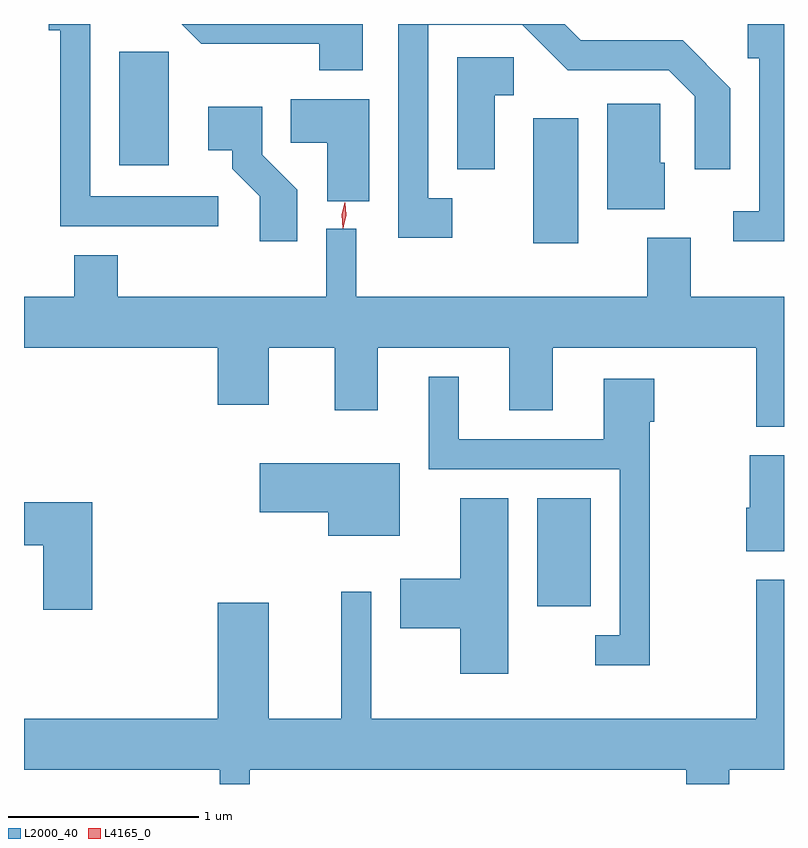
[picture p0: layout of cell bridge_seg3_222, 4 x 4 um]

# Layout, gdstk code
import gdstk
lib = gdstk.Library(unit=1e-6, precision=1e-09)
def R(c, l, rs):  # rectangles x0, y0, x1, y1
    for r in rs: c.add(gdstk.rectangle(r[:2], r[2:], *l))
def P(c, l, *ps):  # polygons
    for p in ps: c.add(gdstk.Polygon(p, *l))
L2000_40 = (2000, 40)
L4165_0 = (4165, 0)

bridge_seg3_222 = lib.new_cell('bridge_seg3_222')
R(bridge_seg3_222, L2000_40, [(956.016,1120.216,956.299,1120.784), (955.996,1122.126,956.234,1122.784), (953.816,1122.536,954.079,1123.134)])
P(bridge_seg3_222, L2000_40, [(955.569,1122.364),(955.444,1122.364),(955.444,1123.276),(955.939,1123.276),(956.179,1123.036),(956.709,1123.036),(956.846,1122.899),(956.846,1122.516),(957.034,1122.516),(957.034,1122.942),(956.782,1123.194),(956.247,1123.194),(956.161,1123.28),(955.286,1123.28),(955.286,1122.156),(955.569,1122.156)],
  [(957.316,1123.28),(957.126,1123.28),(957.126,1123.101),(957.186,1123.101),(957.186,1122.294),(957.048,1122.294),(957.048,1122.136),(957.316,1122.136)],
  [(955.099,1123.28),(954.145,1123.28),(954.249,1123.176),(954.871,1123.176),(954.871,1123.036),(955.099,1123.036)],
  [(954.338,1122.374),(953.664,1122.374),(953.664,1123.28),(953.446,1123.28),(953.446,1123.246),(953.506,1123.246),(953.506,1122.216),(954.338,1122.216)],
  [(955.794,1122.906),(955.894,1122.906),(955.894,1123.104),(955.596,1123.104),(955.596,1122.516),(955.794,1122.516)],
  [(955.134,1122.884),(954.721,1122.884),(954.721,1122.656),(954.911,1122.656),(954.911,1122.346),(955.134,1122.346)],
  [(956.689,1122.549),(956.664,1122.549),(956.664,1122.859),(956.386,1122.859),(956.386,1122.306),(956.689,1122.306)],
  [(954.754,1122.407),(954.569,1122.592),(954.569,1122.844),(954.286,1122.844),(954.286,1122.616),(954.411,1122.616),(954.411,1122.519),(954.556,1122.374),(954.556,1122.136),(954.754,1122.136)],
  [(957.316,1121.844),(956.824,1121.844),(956.824,1122.154),(956.596,1122.154),(956.596,1121.844),(955.064,1121.844),(955.064,1122.203),(954.906,1122.203),(954.906,1121.844),(953.809,1121.844),(953.809,1122.064),(953.581,1122.064),(953.581,1121.844),(953.316,1121.844),(953.316,1121.576),(954.336,1121.576),(954.336,1121.276),(954.604,1121.276),(954.604,1121.576),(954.951,1121.576),(954.951,1121.246),(955.179,1121.246),(955.179,1121.576),(955.871,1121.576),(955.871,1121.246),(956.099,1121.246),(956.099,1121.576),(957.171,1121.576),(957.171,1121.161),(957.316,1121.161)],
  [(956.609,1121.186),(956.634,1121.186),(956.634,1121.414),(956.366,1121.414),(956.366,1121.094),(955.604,1121.094),(955.604,1121.423),(955.446,1121.423),(955.446,1120.936),(956.451,1120.936),(956.451,1120.064),(956.323,1120.064),(956.323,1119.906),(956.609,1119.906)],
  [(957.316,1121.009),(957.136,1121.009),(957.136,1120.734),(957.116,1120.734),(957.116,1120.506),(957.316,1120.506)],
  [(955.294,1120.969),(954.556,1120.969),(954.556,1120.711),(954.916,1120.711),(954.916,1120.586),(955.294,1120.586)],
  [(955.864,1120.784),(955.611,1120.784),(955.611,1120.359),(955.296,1120.359),(955.296,1120.101),(955.611,1120.101),(955.611,1119.861),(955.864,1119.861)],
  [(953.674,1120.764),(953.316,1120.764),(953.316,1120.536),(953.416,1120.536),(953.416,1120.196),(953.674,1120.196)],
  [(954.504,1119.356),(956.801,1119.356),(956.801,1119.28),(957.029,1119.28),(957.029,1119.356),(957.316,1119.356),(957.316,1120.354),(957.171,1120.354),(957.171,1119.624),(955.144,1119.624),(955.144,1120.293),(954.986,1120.293),(954.986,1119.624),(954.604,1119.624),(954.604,1120.234),(954.336,1120.234),(954.336,1119.624),(953.316,1119.624),(953.316,1119.356),(954.346,1119.356),(954.346,1119.28),(954.504,1119.28)])
P(bridge_seg3_222, L4165_0, [(954.996,1122.208),(954.996,1122.208),(954.992,1122.275),(955.007,1122.34),(955.007,1122.34),(955.008,1122.34),(955.012,1122.274),(954.997,1122.208)],
  [(954.994,1122.205),(954.994,1122.205),(954.989,1122.275),(955.004,1122.343),(955.004,1122.343),(955.005,1122.343),(955.009,1122.273),(954.995,1122.205)])

lib.write_gds('bridge_seg3_222.gds')
